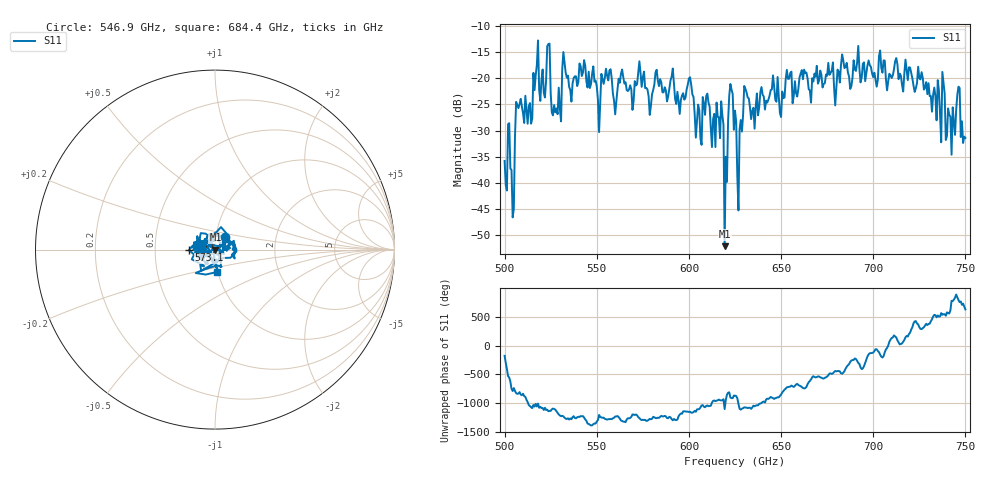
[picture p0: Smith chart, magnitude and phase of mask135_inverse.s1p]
!Created with skrf (http://scikit-rf.org).
# GHz S MA R 50.0
!freq magS11 angS11
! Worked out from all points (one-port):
!   401 points, 500 GHz to 750 GHz, reference 50 ohm
!   lowest |S11| = -52.1 dB at 619.4 GHz (marker M1), VSWR 1.00, Z = 50.2 - j0.0964 ohm
!   |S11| at or under -10 dB: start of sweep to end of sweep
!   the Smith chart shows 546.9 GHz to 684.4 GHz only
!   S11 on the Smith chart (normalised r, x): 546.9 GHz: 1.10, +0.16; 573.1 GHz: 0.75, -0.00; 684.4 GHz: 0.99, -0.25
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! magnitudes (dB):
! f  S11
! 500 GHz  -35.8
! 504.4 GHz  -46.6
! 507.5 GHz  -25.7
! 513.8 GHz  -24.7
! 516.9 GHz  -19.4
! 520.6 GHz  -18.3
! 523.8 GHz  -13.5
! 526.9 GHz  -25.1
! 531.2 GHz  -18.4
! 546.9 GHz  -21.1
! 550.6 GHz  -24.1
! 562.5 GHz  -20.9
! 573.1 GHz  -16.8
! 593.8 GHz  -22.6
! 616.2 GHz  -27.4
! 619.4 GHz  -52.1
! 622.5 GHz  -21.1
! 625 GHz  -26.2
! 627.5 GHz  -29.7
! 631.2 GHz  -22.7
! 635 GHz  -25.6
! 656.2 GHz  -24.8
! 684.4 GHz  -18.0
! 687.5 GHz  -22.0
! 718.8 GHz  -20.3
! 741.2 GHz  -27.0
! 746.2 GHz  -21.6
! 750 GHz  -31.4
